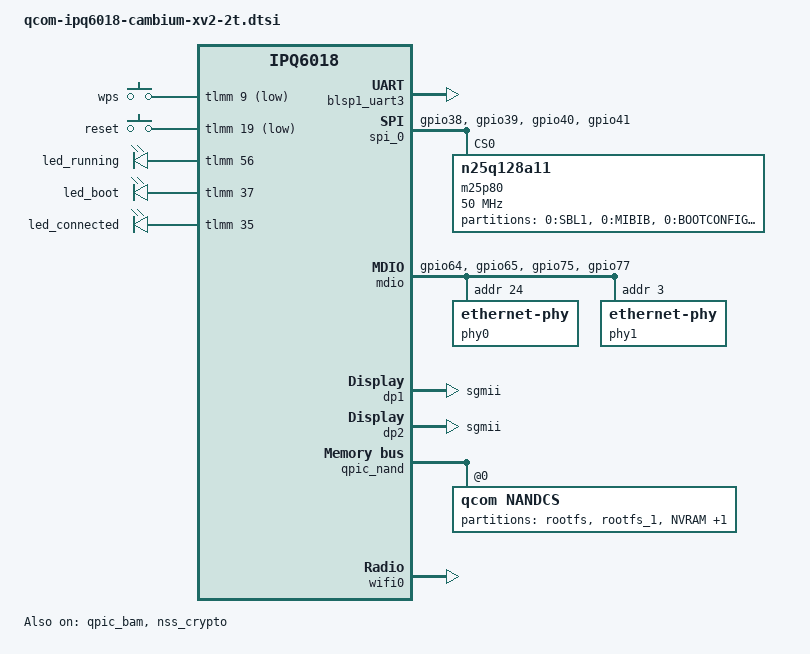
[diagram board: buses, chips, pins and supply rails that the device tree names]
// SPDX-License-Identifier: (GPL-2.0+ OR BSD-3-Clause)
/*
 * Cambium XV2-2T0 and XV2-2T1 device tree source
 *
 * IPQ6010 (IPQ6018 family) on the AP-CP01-C1 reference design: 1 GB DRAM,
 * 16 MB SPI-NOR, 256 MB NAND, one integrated 2x2:2 dual-band Wi-Fi 6 radio,
 * two ethernet ports. The two boards are the same hardware with different
 * antennas, omnidirectional on the 2T0 and 120-degree sectors on the 2T1;
 * the vendor's own device trees for them differ in nothing but the board
 * SKU number its kernel exposes as /proc/sku (22 and 31). Peripheral values
 * are transcribed from the OEM device tree ("Qualcomm Technologies, Inc.
 * IPQ6018/AP-CP01-C1"). The model name and the LED labels are left to each
 * board's own file.
 *
 * Copyright (c) 2019-2021 The Linux Foundation. All rights reserved.
 */

#include "ipq6018.dtsi"
#include "ipq6018-cpr-regulator.dtsi"
#include <dt-bindings/input/input.h>

/ {
	aliases {
		serial0 = &blsp1_uart3;
		serial1 = &blsp1_uart2;
		/*
		 * Aliases as required by u-boot to patch MAC addresses.
		 *
		 * dp1 (the 2.5G port, WAN) is ethernet1 rather than ethernet0,
		 * the arrangement the Cambium XV2-22H uses, so that U-Boot's
		 * eth%daddr fixup puts eth1addr on it. Cambium's label MAC is
		 * ethaddr and eth1addr is label+1: the reference 2T0 has ethaddr=
		 * fc:11:65:b6:ab:7c, eth1addr=fc:11:65:b6:ab:7d and mfginfo
		 * carries FC1165B6AB7C (verified from the stock firmware).
		 * 02_network derives the uCentral serial as wan_mac-1. The OEM
		 * tree aliases dp1 as ethernet0 instead. Still UNVERIFIED on
		 * hardware: that eth0 comes up with eth1addr and not ethaddr.
		 */
		ethernet1 = "/soc/dp1";

		led-boot = &led_boot;
		led-failsafe = &led_boot;
		led-running = &led_running;
		led-upgrade = &led_boot;
	};

	chosen {
		stdout-path = "serial0:115200n8";
		bootargs-append = " swiotlb=1 coherent_pool=2M";
	};
};

&blsp1_uart3 {
	pinctrl-0 = <&serial_3_pins>;
	pinctrl-names = "default";
	status = "ok";
};

&spi_0 {
	pinctrl-0 = <&spi_0_pins>;
	pinctrl-names = "default";
	cs-select = <0>;
	status = "ok";

	/*
	 * The NOR is a Macronix MX25U12835F (16 MB). The OEM tree declares it
	 * as n25q128a11, a reference-design leftover that every ipq60xx tree
	 * here shares; the driver identifies the chip by its JEDEC ID.
	 */
	m25p80@0 {
		#address-cells = <1>;
		#size-cells = <1>;
		reg = <0>;
		compatible = "n25q128a11";
		linux,modalias = "m25p80", "n25q128a11";
		spi-max-frequency = <50000000>;
		use-default-sizes;

		/*
		 * NOR map from the 2T0's own /proc/mtd, every partition
		 * verified byte-exact against a full flash dump. The vendor
		 * U-Boot only injects it inside its bootipq command, which our
		 * bootm bootcmd bypasses, so without this table the kernel sees
		 * no MTD partitions at all and ath11k runs uncalibrated. Two
		 * are load-bearing:
		 *   0:ART       - ath11k caldata is extracted from here.
		 *   0:APPSBLENV - the U-Boot environment, so fw_setenv works
		 *                 from OpenWrt (the sysupgrade bank switch).
		 * The 16 partitions end at 0x6e0000; the rest of the 16 MB chip
		 * is unpartitioned. Everything but the environment is
		 * read-only: 0:ART and mfginfo hold irreplaceable per-unit
		 * data (RF calibration, MAC and serial). The XV2-2T1 and the
		 * XE3-4 carry a 23-entry map with the environment elsewhere;
		 * qcom-ipq6018-cambium-nor-23.dtsi overrides this table for them.
		 */
		partition@0 {
			label = "0:SBL1";
			reg = <0x0 0xc0000>;
			read-only;
		};

		partition@c0000 {
			label = "0:MIBIB";
			reg = <0xc0000 0x10000>;
			read-only;
		};

		partition@d0000 {
			label = "0:BOOTCONFIG";
			reg = <0xd0000 0x20000>;
			read-only;
		};

		partition@f0000 {
			label = "0:BOOTCONFIG1";
			reg = <0xf0000 0x20000>;
			read-only;
		};

		partition@110000 {
			label = "0:QSEE";
			reg = <0x110000 0x1a0000>;
			read-only;
		};

		partition@2b0000 {
			label = "0:QSEE_1";
			reg = <0x2b0000 0x1a0000>;
			read-only;
		};

		partition@450000 {
			label = "0:DEVCFG";
			reg = <0x450000 0x10000>;
			read-only;
		};

		partition@460000 {
			label = "mfginfo";
			reg = <0x460000 0x10000>;
			read-only;
		};

		partition@470000 {
			label = "0:RPM";
			reg = <0x470000 0x40000>;
			read-only;
		};

		partition@4b0000 {
			label = "0:RPM_1";
			reg = <0x4b0000 0x40000>;
			read-only;
		};

		partition@4f0000 {
			label = "0:CDT";
			reg = <0x4f0000 0x10000>;
			read-only;
		};

		partition@500000 {
			label = "0:CDT_1";
			reg = <0x500000 0x10000>;
			read-only;
		};

		partition@510000 {
			label = "0:APPSBLENV";
			reg = <0x510000 0x10000>;
		};

		partition@520000 {
			label = "0:APPSBL";
			reg = <0x520000 0xa0000>;
			read-only;
		};

		partition@5c0000 {
			label = "0:APPSBL_1";
			reg = <0x5c0000 0xa0000>;
			read-only;
		};

		partition@660000 {
			label = "0:ART";
			reg = <0x660000 0x80000>;
			read-only;
		};
	};
};

&tlmm {
	spi_0_pins: spi-0-pins {
		pins = "gpio38", "gpio39", "gpio40", "gpio41";
		function = "blsp0_spi";
		drive-strength = <8>;
		bias-pull-down;
	};

	button_pins: button_pins {
		wps_button {
			pins = "gpio9";
			function = "gpio";
			drive-strength = <8>;
			bias-pull-up;
		};

		reset_button {
			pins = "gpio19";
			function = "gpio";
			drive-strength = <8>;
			bias-pull-up;
		};
	};

	leds_pins: leds_pins {
		led2 {
			pins = "gpio56";
			function = "gpio";
			drive-strength = <8>;
			bias-pull-down;
		};
		led3 {
			pins = "gpio37";
			function = "gpio";
			drive-strength = <8>;
			bias-pull-down;
		};
		led4 {
			pins = "gpio35";
			function = "gpio";
			drive-strength = <8>;
			bias-pull-down;
		};
	};

	mdio_pins: mdio_pinmux {
		mux_0 {
			pins = "gpio64";
			function = "mdc";
			drive-strength = <8>;
			bias-pull-up;
		};
		mux_1 {
			pins = "gpio65";
			function = "mdio";
			drive-strength = <8>;
			bias-pull-up;
		};
		mux_2 {
			pins = "gpio75";
			function = "gpio";
			bias-pull-up;
		};
		mux_3 {
			pins = "gpio77";
			function = "gpio";
			bias-pull-up;
		};
	};
};

&soc {
	/* Buttons as in the stock device tree, which uses plain gpio-keys. */
	gpio_keys {
		compatible = "gpio-keys";
		pinctrl-0 = <&button_pins>;
		pinctrl-names = "default";

		wps {
			label = "wps";
			linux,code = <KEY_WPS_BUTTON>;
			gpios = <&tlmm 9 GPIO_ACTIVE_LOW>;
			linux,input-type = <1>;
			debounce-interval = <60>;
		};

		reset {
			label = "reset";
			linux,code = <KEY_RESTART>;
			gpios = <&tlmm 19 GPIO_ACTIVE_LOW>;
			linux,input-type = <1>;
			debounce-interval = <60>;
		};
	};

	/*
	 * LEDs from the stock kernel's cambium_platform driver, fed by the
	 * "cambium-platform" node: led-gpio = <73 56 37 35> (LED1..LED4),
	 * active high, GPIO37 lit at boot, the same on both SKUs (board-sku
	 * 22 "snow_leopard", the 2T0, and 31 "snow_leopard 120", the 2T1).
	 * LED1/GPIO73 is never driven and is left out. Stock uses LED3/GPIO37
	 * while booting (and for a critical power alert), LED2/GPIO56 once up
	 * but not yet connected to its controller, and LED4/GPIO35 once
	 * connected. The colour of each LED cannot be determined offline and
	 * must be confirmed on the hardware, hence the neutral labels each
	 * board sets.
	 */
	leds {
		compatible = "gpio-leds";
		pinctrl-0 = <&leds_pins>;
		pinctrl-names = "default";

		led_running: led2 {
			gpios = <&tlmm 56 GPIO_ACTIVE_HIGH>;
			default-state = "off";
		};

		led_boot: led3 {
			gpios = <&tlmm 37 GPIO_ACTIVE_HIGH>;
			default-state = "on";
		};

		led_connected: led4 {
			gpios = <&tlmm 35 GPIO_ACTIVE_HIGH>;
			default-state = "off";
		};
	};

	mdio: mdio@90000 {
		pinctrl-0 = <&mdio_pins>;
		pinctrl-names = "default";
		phy-reset-gpio = <&tlmm 75 0 &tlmm 77 1>;
		status = "ok";
		phy0: ethernet-phy@0 {
			reg = <0x18>;
		};
		phy1: ethernet-phy@1 {
			reg = <3>;
		};
	};

	/* Both ports as in the OEM tree: dp1 is the 2.5G QGMAC port, dp2 1G. */
	dp1 {
		device_type = "network";
		compatible = "qcom,nss-dp";
		qcom,id = <5>;
		reg = <0x3a001800 0x200>;
		qcom,mactype = <0>;
		local-mac-address = [000000000000];
		qcom,link-poll = <1>;
		qcom,phy-mdio-addr = <0x18>;
		phy-mode = "sgmii";
	};

	dp2 {
		device_type = "network";
		compatible = "qcom,nss-dp";
		qcom,id = <4>;
		reg = <0x3a001600 0x200>;
		qcom,mactype = <0>;
		local-mac-address = [000000000000];
		qcom,link-poll = <1>;
		qcom,phy-mdio-addr = <3>;
		phy-mode = "sgmii";
	};

	ess-switch@3a000000 {
		switch_cpu_bmp = <0x1>;  /* cpu port bitmap */
		switch_lan_bmp = <0x1e>; /* lan port bitmap */
		switch_wan_bmp = <0x20>; /* wan port bitmap */
		switch_inner_bmp = <0xc0>; /*inner port bitmap*/
		switch_mac_mode = <0x0>; /* mac mode for uniphy instance0*/
		switch_mac_mode1 = <0xf>; /* mac mode for uniphy instance1*/
		switch_mac_mode2 = <0xff>; /* mac mode for uniphy instance2*/
		qcom,port_phyinfo {
			port@0 {
				port_id = <4>;
				phy_address = <3>;
			};
			port@1 {
				port_id = <5>;
				phy_address = <0x18>;
				port_mac_sel = "QGMAC_PORT";
			};
		};
	};

	nss-macsec0 {
		compatible = "qcom,nss-macsec";
		phy_addr = <0x18>;
		phy_access_mode = <0>;
		mdiobus = <&mdio>;
	};
};

&qpic_bam {
	status = "ok";
};

&qpic_nand {
	status = "ok";

	/*
	 * NAND map from the 2T0's own /proc/mtd. The other ipq60xx boards
	 * in this tree leave it to the vendor U-Boot's mtdparts, but that is
	 * injected only by its bootipq command, which our bootm bootcmd
	 * bypasses. Bank A (rootfs) and bank B (rootfs_1) are the two
	 * sysupgrade targets; both stay writable, as do NVRAM and crashLog.
	 */
	nandcs@0 {
		compatible = "qcom,nandcs";
		reg = <0>;
		#address-cells = <1>;
		#size-cells = <1>;

		nand-ecc-strength = <4>;
		nand-ecc-step-size = <512>;
		nand-bus-width = <8>;

		partition@0 {
			label = "rootfs";
			reg = <0x0 0x6000000>;
		};

		partition@6000000 {
			label = "rootfs_1";
			reg = <0x6000000 0x6000000>;
		};

		partition@c000000 {
			label = "NVRAM";
			reg = <0xc000000 0x3000000>;
		};

		partition@f000000 {
			label = "crashLog";
			reg = <0xf000000 0x1000000>;
		};
	};
};

/* The integrated IPQ6018 radio serves both bands. */
&wifi0 {
	status = "ok";
};

/*
 * The OEM tree carries a disabled qcn9000 (wifi1@f00000) and enables PCIe,
 * but this board has no add-in radio and PCIe never enumerates. Keep both
 * off.
 */
&wifi1 {
	status = "disabled";
};

&pcie_phy {
	status = "disabled";
};

&pcie0 {
	status = "disabled";
};

&nss_crypto {
	status = "ok";
};
